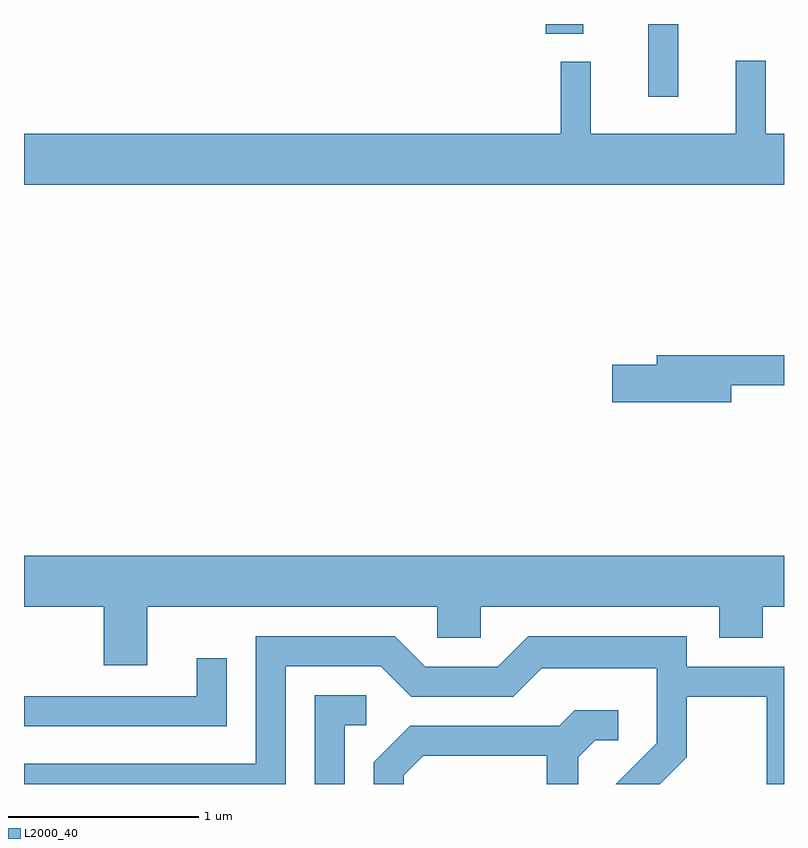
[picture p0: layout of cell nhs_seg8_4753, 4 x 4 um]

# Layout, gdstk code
import gdstk
lib = gdstk.Library(unit=1e-6, precision=1e-09)
def R(c, l, rs):  # rectangles x0, y0, x1, y1
    for r in rs: c.add(gdstk.rectangle(r[:2], r[2:], *l))
def P(c, l, *ps):  # polygons
    for p in ps: c.add(gdstk.Polygon(p, *l))
L2000_40 = (2000, 40)

nhs_seg8_4753 = lib.new_cell('nhs_seg8_4753')
R(nhs_seg8_4753, L2000_40, [(330.896,1867.958,331.054,1868.342), (330.356,1868.291,330.554,1868.342)])
P(nhs_seg8_4753, L2000_40, [(331.611,1867.764),(331.514,1867.764),(331.514,1868.148),(331.356,1868.148),(331.356,1867.764),(330.594,1867.764),(330.594,1868.143),(330.436,1868.143),(330.436,1867.764),(327.611,1867.764),(327.611,1867.496),(331.611,1867.496)],
  [(331.334,1866.441),(331.611,1866.441),(331.611,1866.599),(330.941,1866.599),(330.941,1866.549),(330.706,1866.549),(330.706,1866.351),(331.334,1866.351)],
  [(328.259,1865.276),(329.786,1865.276),(329.786,1865.111),(330.014,1865.111),(330.014,1865.276),(331.271,1865.276),(331.271,1865.111),(331.499,1865.111),(331.499,1865.276),(331.611,1865.276),(331.611,1865.544),(327.611,1865.544),(327.611,1865.276),(328.031,1865.276),(328.031,1864.966),(328.259,1864.966)],
  [(328.989,1864.961),(329.489,1864.961),(329.649,1864.801),(330.187,1864.801),(330.337,1864.951),(330.941,1864.951),(330.941,1864.557),(330.726,1864.342),(330.957,1864.342),(331.099,1864.484),(331.099,1864.801),(331.521,1864.801),(331.521,1864.342),(331.611,1864.342),(331.611,1864.959),(331.099,1864.959),(331.099,1865.119),(330.264,1865.119),(330.104,1864.959),(329.722,1864.959),(329.562,1865.119),(328.831,1865.119),(328.831,1864.449),(327.611,1864.449),(327.611,1864.342),(328.989,1864.342)],
  [(328.679,1865.003),(328.521,1865.003),(328.521,1864.804),(327.611,1864.804),(327.611,1864.646),(328.679,1864.646)],
  [(329.299,1864.651),(329.413,1864.651),(329.413,1864.809),(329.141,1864.809),(329.141,1864.342),(329.299,1864.342)],
  [(329.609,1864.389),(329.712,1864.491),(330.361,1864.491),(330.361,1864.342),(330.529,1864.342),(330.529,1864.484),(330.617,1864.571),(330.738,1864.571),(330.738,1864.729),(330.509,1864.729),(330.429,1864.649),(329.644,1864.649),(329.451,1864.457),(329.451,1864.342),(329.609,1864.342)])

lib.write_gds('nhs_seg8_4753.gds')
